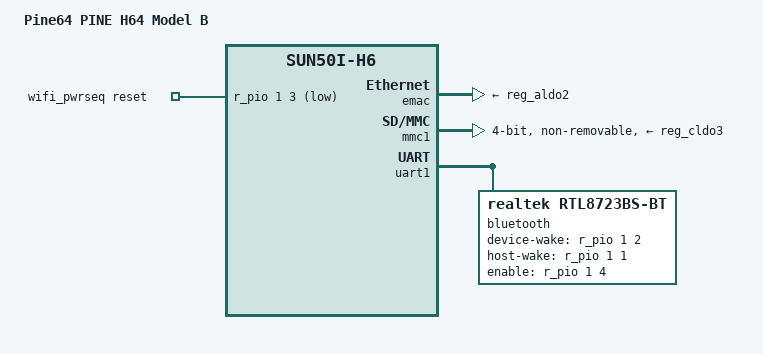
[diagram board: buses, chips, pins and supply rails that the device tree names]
// SPDX-License-Identifier: (GPL-2.0+ OR MIT)
/*
 * Copyright (C) 2019 Corentin LABBE <clabbe@baylibre.com>
 */

#include "sun50i-h6-pine-h64.dts"

/delete-node/ &reg_gmac_3v3;

/ {
	model = "Pine64 PINE H64 Model B";
	compatible = "pine64,pine-h64-model-b", "allwinner,sun50i-h6";

	wifi_pwrseq: pwrseq {
		compatible = "mmc-pwrseq-simple";
		reset-gpios = <&r_pio 1 3 GPIO_ACTIVE_LOW>; /* PM3 */
		post-power-on-delay-ms = <200>;
	};
};

&hdmi_connector {
	/delete-property/ ddc-en-gpios;
};

&emac {
	phy-supply = <&reg_aldo2>;
};

&mmc1 {
	vmmc-supply = <&reg_cldo3>;
	vqmmc-supply = <&reg_aldo1>;
	mmc-pwrseq = <&wifi_pwrseq>;
	bus-width = <4>;
	non-removable;
	status = "okay";
};

&uart1 {
	pinctrl-names = "default";
	pinctrl-0 = <&uart1_pins>, <&uart1_rts_cts_pins>;
	uart-has-rtscts;
	status = "okay";

	bluetooth {
		compatible = "realtek,rtl8723bs-bt";
		device-wake-gpios = <&r_pio 1 2 GPIO_ACTIVE_HIGH>; /* PM2 */
		host-wake-gpios = <&r_pio 1 1 GPIO_ACTIVE_HIGH>; /* PM1 */
		enable-gpios = <&r_pio 1 4 GPIO_ACTIVE_HIGH>; /* PM4 */
		max-speed = <1500000>;
	};
};
